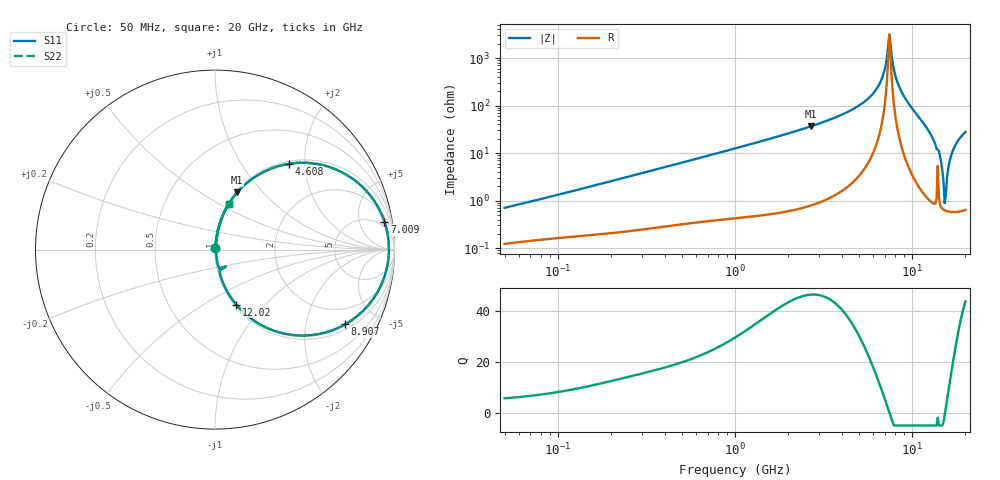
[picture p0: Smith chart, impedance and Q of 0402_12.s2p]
!Murata Part Number: LQG15HS1N8B02
!These Parameters are Measured in Series Mode Connection
!  o--[Z]--o
!Port1  Port2
!  o-------o
!Freq. Start=50[MHz] Stop=20[GHz], 401[Steps]
# Hz S RI R 50
!Freq.(Hz) S11(Real) S11(Imag) S21(Real) S21(Imag) S12(Real) S12(Imag) S22(Real) S22(Imag)
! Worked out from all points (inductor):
!   401 points, 50 MHz to 20 GHz, reference 50 ohm
!   read as one part in series: L = 2.16 nH near 51.52 MHz
!   highest Q = 46.3 at 2.687 GHz (marker M1), where L = 2.17 nH
!   self-resonance near 7.442 GHz
!   S11 on the Smith chart (normalised r, x): 50 MHz: 1.00, +0.01; 4.608 GHz: 1.05, +1.66; 7.009 GHz: 3, +11; 8.907 GHz: 1.21, -3.35; 12.02 GHz: 1.02, -0.70; 20 GHz: 1.01, +0.55
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5e7  0.00127 0.00693  0.9987 -0.00693  0.9987 -0.00693  0.00127 0.00693
1.364002e8  0.00211 0.0176  0.9979 -0.0176  0.9979 -0.0176  0.00211 0.0176
3.721004e8  0.00492 0.0466  0.9951 -0.0466  0.9951 -0.0466  0.00492 0.0466
1e9  0.0194 0.1221  0.9806 -0.1221  0.9806 -0.1221  0.0194 0.1221
2.687447e9  0.1237 0.3186  0.8763 -0.3186  0.8763 -0.3186  0.1237 0.3186
2.728004e9  0.1276 0.3231  0.8724 -0.3231  0.8724 -0.3231  0.1276 0.3231
4.608136e9  0.4105 0.4777  0.5895 -0.4777  0.5895 -0.4777  0.4105 0.4777
6.125241e9  0.7763 0.3877  0.2237 -0.3877  0.2237 -0.3877  0.7763 0.3877
6.601595e9  0.8814 0.2794  0.1186 -0.2794  0.1186 -0.2794  0.8814 0.2794
7.009217e9  0.9442 0.1553  0.0558 -0.1553  0.0558 -0.1553  0.9442 0.1553
7.442007e9  0.9692 0.00311  0.0308 -0.00311  0.0308 -0.00311  0.9692 0.00311
7.668323e9  0.9624 -0.0786  0.0376 0.0786  0.0376 0.0786  0.9624 -0.0786
8.141811e9  0.905 -0.2379  0.095 0.2379  0.095 0.2379  0.905 -0.2379
8.907419e9  0.7254 -0.4165  0.2746 0.4165  0.2746 0.4165  0.7254 -0.4165
1.004137e10  0.4265 -0.4752  0.5735 0.4752  0.5735 0.4752  0.4265 -0.4752
1.201863e10  0.1182 -0.3062  0.8818 0.3062  0.8818 0.3062  0.1182 -0.3062
1.417136e10  0.0234 -0.1063  0.9766 0.1063  0.9766 0.1063  0.0234 -0.1063
1.527346e10  0.00627 -0.00614  0.9937 0.00614  0.9937 0.00614  0.00627 -0.00614
1.573793e10  0.00679 0.0284  0.9932 -0.0284  0.9932 -0.0284  0.00679 0.0284
1.621653e10  0.00962 0.0614  0.9904 -0.0614  0.9904 -0.0614  0.00962 0.0614
1.696185e10  0.0176 0.1083  0.9824 -0.1083  0.9824 -0.1083  0.0176 0.1083
2e10  0.0765 0.2546  0.9235 -0.2546  0.9235 -0.2546  0.0765 0.2546
